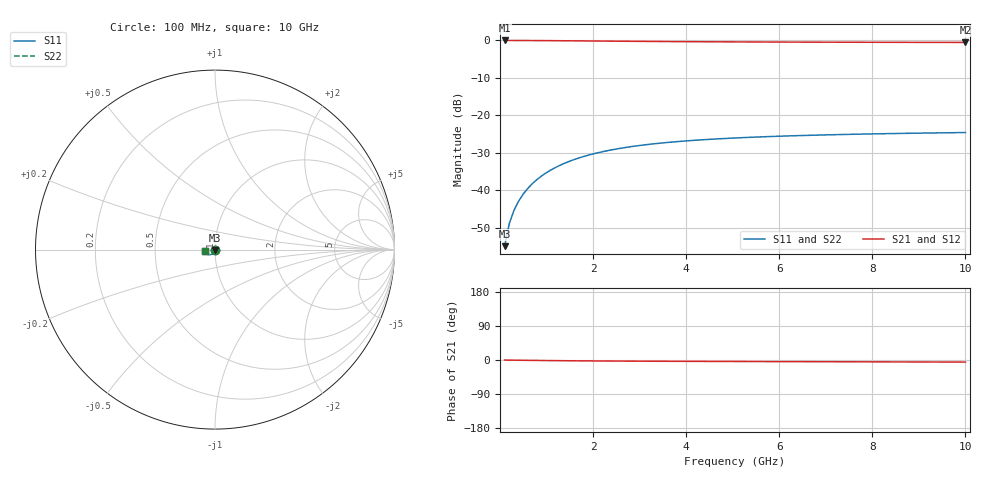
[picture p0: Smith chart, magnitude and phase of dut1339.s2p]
! Touchstone file exported from HFSS 2024.1.0
!  File:  C:/UserFiles/LocalFiles/RDL_TSV_Batchsim/temp_TSV1_1339_1780376211.aedt
!  Generated:  01:03:42 PM Jun  2, 2026
!  Design:  TSV1
!  Project:  temp_TSV1_1339_1780376211
!  Setup:  Setup1
!  Solution:  Sweep
! Variables:
!  dtsv = 13.69um
!  hbump = 3um
!  htsv = 84.77um
!  lrdl = 252.1521522um
!  p = 40
!  p1 = 54.66um
!  t = 500um
!  trdl = 3um
!  wrdl = 24.89489489um
# GHz S MA R 50.000000
! Terminal data exported
! Port[1] = TSV22_T1
! Port[2] = TSV22_T2
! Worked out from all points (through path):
!   100 points, 100 MHz to 10 GHz, reference 50 ohm
!   highest |S21| = 0.00 dB at 100 MHz (marker M1); lowest = -0.5 dB at 10 GHz (marker M2)
!   lowest |S11| = -55.0 dB at 100 MHz (marker M3), VSWR 1.00, Z = 50 - j0.178 ohm
!   |S11| at or under -10 dB: start of sweep to end of sweep
!   |S22| runs from -55.0 to -24.6 dB; largest |S21 - S12| = 7.2e-15
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0.1  0.001782 -89.0  0.9998 -0.2  0.9998 -0.2  0.001782 -89.0
! Gamma 0 0 0 0
! Port Impedance 50 0 50 0
0.2  0.003562 -92.2  0.9997 -0.3  0.9997 -0.3  0.003562 -92.2
0.3  0.005338 -94.4  0.9994 -0.5  0.9994 -0.5  0.005338 -94.4
0.4  0.007103 -96.5  0.9989 -0.6  0.9989 -0.6  0.007103 -96.5
0.5  0.00885 -98.5  0.9984 -0.8  0.9984 -0.8  0.00885 -98.5
0.6  0.01057 -100.4  0.9978 -0.9  0.9978 -0.9  0.01057 -100.4
0.7  0.01227 -102.3  0.9971 -1.0  0.9971 -1.0  0.01227 -102.3
0.8  0.01393 -104.1  0.9963 -1.2  0.9963 -1.2  0.01393 -104.1
0.9  0.01555 -105.9  0.9955 -1.3  0.9955 -1.3  0.01555 -105.9
1.1  0.01867 -109.4  0.9936 -1.6  0.9936 -1.6  0.01867 -109.4
1.4  0.02302 -114.4  0.9904 -1.9  0.9904 -1.9  0.02302 -114.4
1.6  0.02568 -117.5  0.9881 -2.1  0.9881 -2.1  0.02568 -117.5
1.8  0.02816 -120.4  0.9857 -2.3  0.9857 -2.3  0.02816 -120.4
2.1  0.03153 -124.5  0.9822 -2.5  0.9822 -2.5  0.03153 -124.5
2.5  0.03542 -129.5  0.9776 -2.8  0.9776 -2.8  0.03542 -129.5
2.9  0.03872 -133.9  0.9734 -3.1  0.9734 -3.1  0.03872 -133.9
3.4  0.04215 -138.7  0.9686 -3.3  0.9686 -3.3  0.04215 -138.7
4.2  0.04639 -145.3  0.9621 -3.6  0.9621 -3.6  0.04639 -145.3
5.1  0.0499 -151.2  0.9565 -4.0  0.9565 -4.0  0.0499 -151.2
6.7  0.0541 -159.5  0.9493 -4.5  0.9493 -4.5  0.0541 -159.5
8.4  0.05695 -166.3  0.9443 -5.0  0.9443 -5.0  0.05695 -166.3
10  0.05881 -171.5  0.9411 -5.5  0.9411 -5.5  0.05881 -171.5
